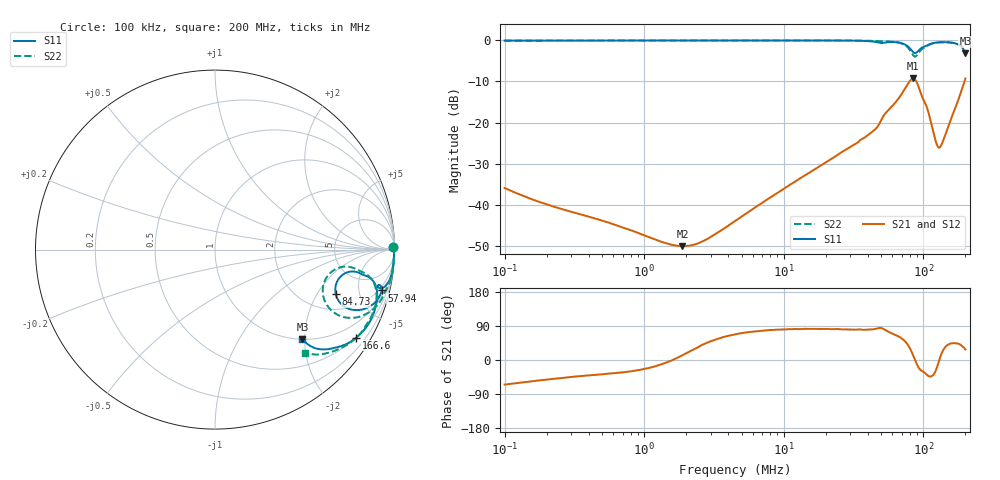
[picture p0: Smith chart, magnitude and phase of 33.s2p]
#  HZ  S  RI  R  50.00
! Rohde & Schwarz Vector Network Analyzer
! Rohde-Schwarz,ZNLE6-2Port,1323001256200024,1.71.1.10-23.02.1.238
! Created: UTC 4/7/2025, 5:02:11 AM
! freq[Hz]  re:S11  im:S11  re:S21  im:S21  re:S12  im:S12  re:S22  im:S22
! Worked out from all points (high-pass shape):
!   1001 points, 100 kHz to 200 MHz, reference 50 ohm
!   highest |S21| = -9.27 dB at 84.73 MHz (marker M1); lowest = -50.1 dB at 1.88 MHz (marker M2)
!   |S21| within 3 dB of the highest: 72.22 MHz to 94.55 MHz (22.33 MHz wide, 26.8 % of centre); 187.4 MHz to end of sweep
!   lowest |S11| = -3.1 dB at 200 MHz (marker M3), VSWR 5.63, Z = 49.9 - j97.5 ohm
!   |S11| at or under -10 dB: nowhere
!   |S22| runs from -3.9 to 0.0 dB; largest |S21 - S12| = 0.0097
!   S11 on the Smith chart (normalised r, x): 100 kHz: open; 57.94 MHz: 1.53, -7.98; 84.73 MHz: 2.88, -2.94; 166.6 MHz: 0.49, -3.43; 200 MHz: 1.00, -1.95
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100000  0.9934 0.0142  0.00679 -0.0144  0.00681 -0.0145  0.9934 0.0141
355854.1  0.9944 0.00414  0.00559 -0.00507  0.0056 -0.00508  0.9945 0.00412
1266322  0.9965 -0.00238  0.00353 -0.000883  0.00353 -0.000883  0.9966 -0.00247
1880172  0.9969 -0.0055  0.00304 0.000682  0.00305 0.00068  0.997 -0.0056
2567674  0.9973 -0.00949  0.00274 0.0022  0.00279 0.00215  0.9975 -0.00876
4472136  0.9974 -0.0179  0.00239 0.00584  0.00246 0.0058  0.998 -0.0174
1.591428e7  0.9952 -0.0665  0.00357 0.0254  0.00381 0.0254  0.9956 -0.0676
4.340332e7  0.949 -0.2037  0.0121 0.077  0.0148 0.0765  0.9675 -0.1976
5.663162e7  0.9282 -0.2183  0.0401 0.138  0.0435 0.1362  0.9333 -0.2663
5.793781e7  0.9277 -0.2276  0.0458 0.1423  0.0494 0.1404  0.9286 -0.2748
6.745012e7  0.8898 -0.2966  0.0991 0.1775  0.1067 0.1738  0.8706 -0.3411
7.559589e7  0.8032 -0.3366  0.1955 0.1955  0.2009 0.1899  0.7622 -0.3806
8.47254e7  0.6727 -0.2479  0.3374 0.0663  0.3397 0.0577  0.6026 -0.2574
9.072414e7  0.7159 -0.1372  0.2864 -0.0734  0.2855 -0.0808  0.6613 -0.1151
9.568197e7  0.7855 -0.124  0.2051 -0.1029  0.2034 -0.1084  0.7514 -0.0966
1.113911e8  0.8841 -0.1792  0.0823 -0.0782  0.0809 -0.0801  0.8768 -0.171
1.22029e8  0.9037 -0.2503  0.0527 -0.0303  0.0521 -0.0312  0.9 -0.2491
1.27723e8  0.9018 -0.2856  0.0494 -0.00843  0.0491 -0.00926  0.8985 -0.2869
1.367661e8  0.8902 -0.3365  0.0529 0.0209  0.0528 0.0198  0.8855 -0.34
1.6665e8  0.7867 -0.4905  0.1004 0.0984  0.1028 0.0938  0.7832 -0.4943
1.853616e8  0.6475 -0.5517  0.1793 0.1468  0.184 0.1401  0.6489 -0.5701
2e8  0.4873 -0.5003  0.3042 0.1591  0.3098 0.1511  0.4988 -0.5783
